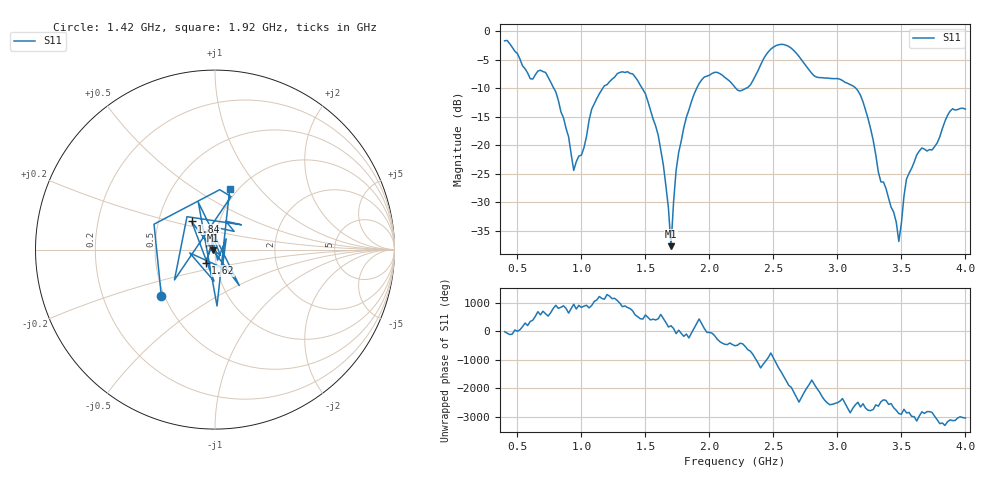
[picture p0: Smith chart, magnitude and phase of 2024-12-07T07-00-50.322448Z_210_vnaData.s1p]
!Created with skrf (http://scikit-rf.org).
# Hz S RI R 50.0
!freq ReS11 ImS11
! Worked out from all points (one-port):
!   181 points, 400 MHz to 4 GHz, reference 50 ohm
!   lowest |S11| = -37.7 dB at 1.7 GHz (marker M1), VSWR 1.03, Z = 48.8 - j0.396 ohm
!   |S11| at or under -10 dB: 783.6 MHz to 1.168 GHz (384 MHz wide, 39.4 % of centre); 1.474 GHz to 1.901 GHz (427.2 MHz wide, 25.3 % of centre); 3.143 GHz to end of sweep (the widest 3 of 4)
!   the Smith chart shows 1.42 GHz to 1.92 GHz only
!   S11 on the Smith chart (normalised r, x): 1.42 GHz: 0.48, -0.30; 1.62 GHz: 0.89, -0.13; 1.84 GHz: 0.74, +0.24; 1.92 GHz: 0.92, +0.71
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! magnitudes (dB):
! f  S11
! 400 MHz  -1.7
! 600 MHz  -8.3
! 720 MHz  -7.3
! 860 MHz  -15.2
! 940 MHz  -24.4
! 1.1 GHz  -12.8
! 1.3 GHz  -7.2
! 1.42 GHz  -8.0
! 1.5 GHz  -11.0
! 1.62 GHz  -20.8
! 1.68 GHz  -31.0
! 1.7 GHz  -37.7
! 1.74 GHz  -24.4
! 1.76 GHz  -21.3
! 1.84 GHz  -13.8
! 1.92 GHz  -9.2
! 2.06 GHz  -7.2
! 2.2 GHz  -9.9
! 2.32 GHz  -9.4
! 2.5 GHz  -2.8
! 2.66 GHz  -3.4
! 2.82 GHz  -7.9
! 3.1 GHz  -9.4
! 3.2 GHz  -12.4
! 3.48 GHz  -36.9
! 3.56 GHz  -24.9
! 3.88 GHz  -14.0
! 4 GHz  -13.7
